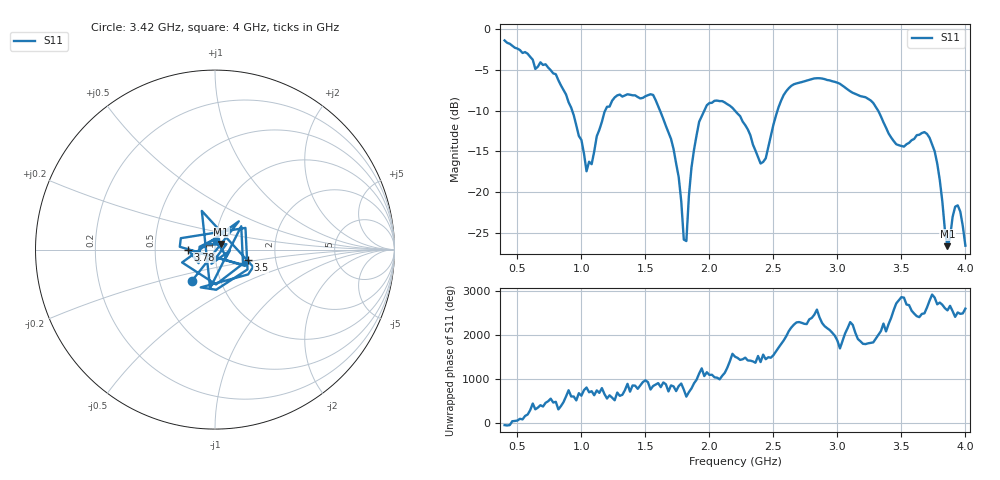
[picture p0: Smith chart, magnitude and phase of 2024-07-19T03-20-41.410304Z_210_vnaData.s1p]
!Created with skrf (http://scikit-rf.org).
# Hz S RI R 50.0
!freq ReS11 ImS11
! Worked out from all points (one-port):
!   181 points, 400 MHz to 4 GHz, reference 50 ohm
!   lowest |S11| = -26.6 dB at 3.86 GHz (marker M1), VSWR 1.10, Z = 53.4 + j3.38 ohm
!   |S11| at or under -10 dB: 1.614 GHz to 1.96 GHz (345.1 MHz wide, 19.3 % of centre); 2.199 GHz to 2.532 GHz (332.4 MHz wide, 14.1 % of centre); 3.318 GHz to end of sweep (the widest 3 of 4)
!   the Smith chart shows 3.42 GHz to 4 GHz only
!   S11 on the Smith chart (normalised r, x): 3.42 GHz: 0.73, -0.27; 3.5 GHz: 1.44, -0.17; 3.78 GHz: 0.74, -0.00; 4 GHz: 1.01, +0.09
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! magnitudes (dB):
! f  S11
! 400 MHz  -1.4
! 860 MHz  -7.5
! 1 GHz  -13.6
! 1.04 GHz  -17.4
! 1.18 GHz  -10.2
! 1.3 GHz  -8.0
! 1.56 GHz  -8.1
! 1.7 GHz  -13.5
! 1.76 GHz  -18.1
! 1.8 GHz  -25.8
! 1.82 GHz  -26.0
! 1.86 GHz  -17.0
! 1.92 GHz  -11.4
! 2.04 GHz  -8.8
! 2.2 GHz  -10.0
! 2.4 GHz  -16.5
! 2.56 GHz  -8.8
! 2.66 GHz  -6.8
! 3.1 GHz  -7.6
! 3.28 GHz  -9.0
! 3.42 GHz  -13.3
! 3.5 GHz  -14.3
! 3.56 GHz  -13.9
! 3.7 GHz  -12.8
! 3.78 GHz  -16.5
! 3.86 GHz  -26.6
! 3.94 GHz  -21.6
! 4 GHz  -26.6
